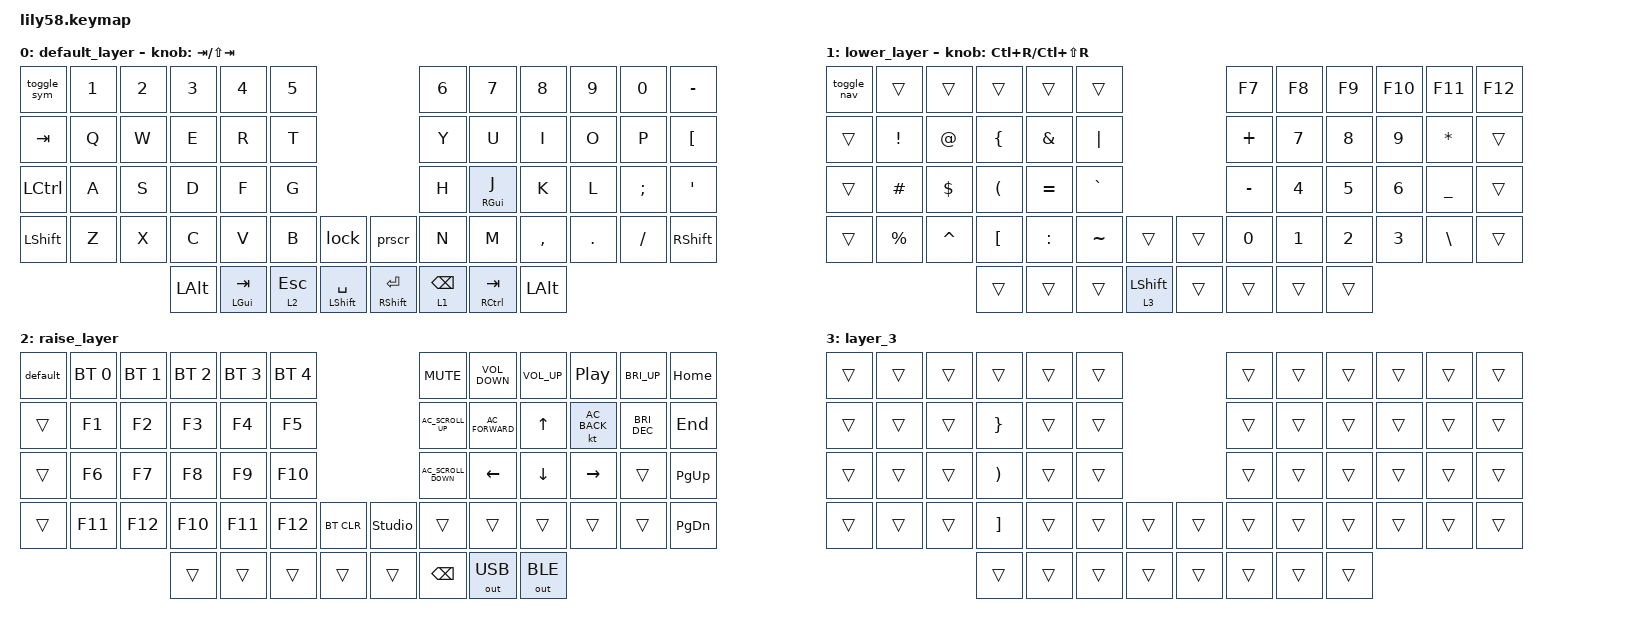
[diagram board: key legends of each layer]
/*
 * Copyright (c) 2020 The ZMK Contributors
 *
 * SPDX-License-Identifier: MIT
 */

#include <behaviors.dtsi>
#include <dt-bindings/zmk/bt.h>
#include <dt-bindings/zmk/keys.h>
#include <dt-bindings/zmk/keys.h>
#include <dt-bindings/zmk/outputs.h>
#include <dt-bindings/zmk/rgb.h>

&mt { flavor = "tap-preferred"; };

&lt { flavor = "hold-preferred"; };

/ {
    combos { compatible = "zmk,combos"; };

    behaviors {
        hp: hp {
            compatible = "zmk,behavior-hold-tap";
            label = "HP";
            bindings = <&kp>, <&kp>;

            #binding-cells = <2>;
            tapping-term-ms = <200>;
        };
    };

    macros {
        lock: lock {
            compatible = "zmk,behavior-macro";
            #binding-cells = <0>;
            bindings = <&kp LC(LG(Q))>;
            label = "LOCK";
        };

        prscr: prscr {
            compatible = "zmk,behavior-macro";
            #binding-cells = <0>;
            bindings = <&kp LG(LS(NUMBER_4)) &kp PRINTSCREEN>;
            label = "PRSCR";
        };

        toggle_sym: toggle_sym {
            compatible = "zmk,behavior-macro";
            #binding-cells = <0>;
            bindings = <&to 1 &rgb_ug RGB_ON &rgb_ug RGB_COLOR_HSB(42,93,10)>;
            label = "TOGGLE_SYM";
        };

        toggle_nav: toggle_nav {
            compatible = "zmk,behavior-macro";
            #binding-cells = <0>;
            bindings = <&to 2 &rgb_ug RGB_COLOR_HSB(10,86,10)>;
            label = "TOGGLE_NAV";
        };

        default: default {
            compatible = "zmk,behavior-macro";
            #binding-cells = <0>;
            bindings = <&to 0 &rgb_ug RGB_OFF>;
            label = "DEFAULT";
        };
    };

    keymap {
        compatible = "zmk,keymap";

        default_layer {
            bindings = <
&toggle_sym     &kp N1  &kp N2  &kp N3    &kp N4        &kp N5                                                        &kp N6           &kp N7         &kp N8        &kp N9   &kp N0    &kp MINUS
&kp TAB         &kp Q   &kp W   &kp E     &kp R         &kp T                                                         &kp Y            &kp U          &kp I         &kp O    &kp P     &kp LBKT
&kp LCTRL       &kp A   &kp S   &kp D     &kp F         &kp G                                                         &kp H            &mt RGUI J     &kp K         &kp L    &kp SEMI  &kp SQT
&kp LEFT_SHIFT  &kp Z   &kp X   &kp C     &kp V         &kp B         &lock                   &prscr                  &kp N            &kp M          &kp COMMA     &kp DOT  &kp FSLH  &kp RSHIFT
                                &kp LALT  &hp LGUI TAB  &lt 2 ESCAPE  &mt LEFT_SHIFT SPACE    &mt RIGHT_SHIFT RETURN  &lt 1 BACKSPACE  &hp RCTRL TAB  &kp LEFT_ALT
            >;

            sensor-bindings = <&inc_dec_kp TAB LS(TAB)>;
        };

        lower_layer {
            bindings = <
&toggle_nav  &trans           &trans       &trans                &trans     &trans                                 &kp F7     &kp F8        &kp F9        &kp F10       &kp F11         &kp F12
&trans       &kp EXCLAMATION  &kp AT_SIGN  &kp LEFT_BRACE        &kp AMPS   &kp PIPE                               &kp PLUS   &kp N7        &kp N8        &kp N9        &kp ASTERISK    &trans
&trans       &kp HASH         &kp DOLLAR   &kp LEFT_PARENTHESIS  &kp EQUAL  &kp GRAVE                              &kp MINUS  &kp NUMBER_4  &kp N5        &kp NUMBER_6  &kp UNDERSCORE  &trans
&trans       &kp PERCENT      &kp CARET    &kp LEFT_BRACKET      &kp COLON  &kp TILDE  &trans              &trans  &kp N0     &kp NUMBER_1  &kp NUMBER_2  &kp NUMBER_3  &kp BACKSLASH   &trans
                                           &trans                &trans     &trans     &lt 3 LEFT_SHIFT    &trans  &trans     &trans        &trans
            >;

            sensor-bindings = <&inc_dec_kp LC(R) LC(LS(R))>;
        };

        raise_layer {
            bindings = <
&default  &bt BT_SEL 0  &bt BT_SEL 1  &bt BT_SEL 2  &bt BT_SEL 3  &bt BT_SEL 4                        &kp C_MUTE            &kp C_VOLUME_DOWN  &kp C_VOLUME_UP  &kp C_PLAY_PAUSE  &kp C_BRI_UP          &kp HOME
&trans    &kp F1        &kp F2        &kp F3        &kp F4        &kp F5                              &kp C_AC_SCROLL_UP    &kp C_AC_FORWARD   &kp UP_ARROW     &kt C_AC_BACK     &kp C_BRIGHTNESS_DEC  &kp END
&trans    &kp F6        &kp F7        &kp F8        &kp F9        &kp F10                             &kp C_AC_SCROLL_DOWN  &kp LEFT           &kp DOWN         &kp RIGHT         &trans                &kp PG_UP
&trans    &kp F11       &kp F12       &kp F10       &kp F11       &kp F12       &bt BT_CLR    &studio_unlock  &trans                &trans             &trans           &trans            &trans                &kp PG_DN
                                      &trans        &trans        &trans        &trans        &trans  &kp BACKSPACE         &out OUT_USB       &out OUT_BLE
            >;
        };

        layer_3 {
            bindings = <
&trans  &trans  &trans  &trans                 &trans  &trans                    &trans  &trans  &trans  &trans  &trans  &trans
&trans  &trans  &trans  &kp RIGHT_BRACE        &trans  &trans                    &trans  &trans  &trans  &trans  &trans  &trans
&trans  &trans  &trans  &kp RIGHT_PARENTHESIS  &trans  &trans                    &trans  &trans  &trans  &trans  &trans  &trans
&trans  &trans  &trans  &kp RIGHT_BRACKET      &trans  &trans  &trans    &trans  &trans  &trans  &trans  &trans  &trans  &trans
                        &trans                 &trans  &trans  &trans    &trans  &trans  &trans  &trans
            >;
        };
    };
};
